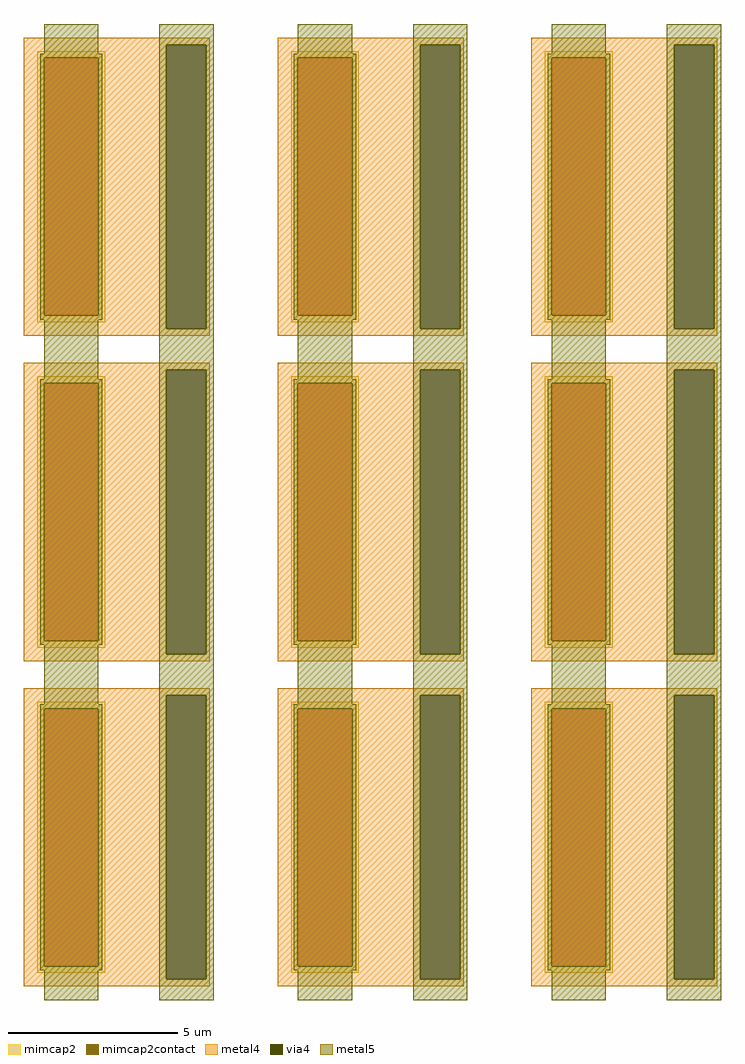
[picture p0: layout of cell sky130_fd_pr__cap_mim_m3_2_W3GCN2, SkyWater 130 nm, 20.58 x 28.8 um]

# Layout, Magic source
magic
tech sky130A
magscale 1 2
<< metal4 >>
rect -2047 2759 -949 2800
rect -2047 1081 -1205 2759
rect -969 1081 -949 2759
rect -2047 1040 -949 1081
rect -549 2759 549 2800
rect -549 1081 293 2759
rect 529 1081 549 2759
rect -549 1040 549 1081
rect 949 2759 2047 2800
rect 949 1081 1791 2759
rect 2027 1081 2047 2759
rect 949 1040 2047 1081
rect -2047 839 -949 880
rect -2047 -839 -1205 839
rect -969 -839 -949 839
rect -2047 -880 -949 -839
rect -549 839 549 880
rect -549 -839 293 839
rect 529 -839 549 839
rect -549 -880 549 -839
rect 949 839 2047 880
rect 949 -839 1791 839
rect 2027 -839 2047 839
rect 949 -880 2047 -839
rect -2047 -1081 -949 -1040
rect -2047 -2759 -1205 -1081
rect -969 -2759 -949 -1081
rect -2047 -2800 -949 -2759
rect -549 -1081 549 -1040
rect -549 -2759 293 -1081
rect 529 -2759 549 -1081
rect -549 -2800 549 -2759
rect 949 -1081 2047 -1040
rect 949 -2759 1791 -1081
rect 2027 -2759 2047 -1081
rect 949 -2800 2047 -2759
<< via4 >>
rect -1205 1081 -969 2759
rect 293 1081 529 2759
rect 1791 1081 2027 2759
rect -1205 -839 -969 839
rect 293 -839 529 839
rect 1791 -839 2027 839
rect -1205 -2759 -969 -1081
rect 293 -2759 529 -1081
rect 1791 -2759 2027 -1081
<< mimcap2 >>
rect -1967 2680 -1567 2720
rect -1967 1160 -1927 2680
rect -1607 1160 -1567 2680
rect -1967 1120 -1567 1160
rect -469 2680 -69 2720
rect -469 1160 -429 2680
rect -109 1160 -69 2680
rect -469 1120 -69 1160
rect 1029 2680 1429 2720
rect 1029 1160 1069 2680
rect 1389 1160 1429 2680
rect 1029 1120 1429 1160
rect -1967 760 -1567 800
rect -1967 -760 -1927 760
rect -1607 -760 -1567 760
rect -1967 -800 -1567 -760
rect -469 760 -69 800
rect -469 -760 -429 760
rect -109 -760 -69 760
rect -469 -800 -69 -760
rect 1029 760 1429 800
rect 1029 -760 1069 760
rect 1389 -760 1429 760
rect 1029 -800 1429 -760
rect -1967 -1160 -1567 -1120
rect -1967 -2680 -1927 -1160
rect -1607 -2680 -1567 -1160
rect -1967 -2720 -1567 -2680
rect -469 -1160 -69 -1120
rect -469 -2680 -429 -1160
rect -109 -2680 -69 -1160
rect -469 -2720 -69 -2680
rect 1029 -1160 1429 -1120
rect 1029 -2680 1069 -1160
rect 1389 -2680 1429 -1160
rect 1029 -2720 1429 -2680
<< mimcap2contact >>
rect -1927 1160 -1607 2680
rect -429 1160 -109 2680
rect 1069 1160 1389 2680
rect -1927 -760 -1607 760
rect -429 -760 -109 760
rect 1069 -760 1389 760
rect -1927 -2680 -1607 -1160
rect -429 -2680 -109 -1160
rect 1069 -2680 1389 -1160
<< metal5 >>
rect -1927 2704 -1607 2880
rect -1247 2759 -927 2880
rect -1951 2680 -1583 2704
rect -1951 1160 -1927 2680
rect -1607 1160 -1583 2680
rect -1951 1136 -1583 1160
rect -1927 784 -1607 1136
rect -1247 1081 -1205 2759
rect -969 1081 -927 2759
rect -429 2704 -109 2880
rect 251 2759 571 2880
rect -453 2680 -85 2704
rect -453 1160 -429 2680
rect -109 1160 -85 2680
rect -453 1136 -85 1160
rect -1247 839 -927 1081
rect -1951 760 -1583 784
rect -1951 -760 -1927 760
rect -1607 -760 -1583 760
rect -1951 -784 -1583 -760
rect -1927 -1136 -1607 -784
rect -1247 -839 -1205 839
rect -969 -839 -927 839
rect -429 784 -109 1136
rect 251 1081 293 2759
rect 529 1081 571 2759
rect 1069 2704 1389 2880
rect 1749 2759 2069 2880
rect 1045 2680 1413 2704
rect 1045 1160 1069 2680
rect 1389 1160 1413 2680
rect 1045 1136 1413 1160
rect 251 839 571 1081
rect -453 760 -85 784
rect -453 -760 -429 760
rect -109 -760 -85 760
rect -453 -784 -85 -760
rect -1247 -1081 -927 -839
rect -1951 -1160 -1583 -1136
rect -1951 -2680 -1927 -1160
rect -1607 -2680 -1583 -1160
rect -1951 -2704 -1583 -2680
rect -1927 -2880 -1607 -2704
rect -1247 -2759 -1205 -1081
rect -969 -2759 -927 -1081
rect -429 -1136 -109 -784
rect 251 -839 293 839
rect 529 -839 571 839
rect 1069 784 1389 1136
rect 1749 1081 1791 2759
rect 2027 1081 2069 2759
rect 1749 839 2069 1081
rect 1045 760 1413 784
rect 1045 -760 1069 760
rect 1389 -760 1413 760
rect 1045 -784 1413 -760
rect 251 -1081 571 -839
rect -453 -1160 -85 -1136
rect -453 -2680 -429 -1160
rect -109 -2680 -85 -1160
rect -453 -2704 -85 -2680
rect -1247 -2880 -927 -2759
rect -429 -2880 -109 -2704
rect 251 -2759 293 -1081
rect 529 -2759 571 -1081
rect 1069 -1136 1389 -784
rect 1749 -839 1791 839
rect 2027 -839 2069 839
rect 1749 -1081 2069 -839
rect 1045 -1160 1413 -1136
rect 1045 -2680 1069 -1160
rect 1389 -2680 1413 -1160
rect 1045 -2704 1413 -2680
rect 251 -2880 571 -2759
rect 1069 -2880 1389 -2704
rect 1749 -2759 1791 -1081
rect 2027 -2759 2069 -1081
rect 1749 -2880 2069 -2759
<< properties >>
string FIXED_BBOX 949 1040 1509 2800
string gencell sky130_fd_pr__cap_mim_m3_2
string library sky130
string parameters w 2.00 l 8 val 35.8 carea 2.00 cperi 0.19 nx 3 ny 3 dummy 0 square 0 lmin 2.00 wmin 2.00 lmax 30.0 wmax 30.0 dc 0 bconnect 1 tconnect 1 ccov 100
<< end >>
